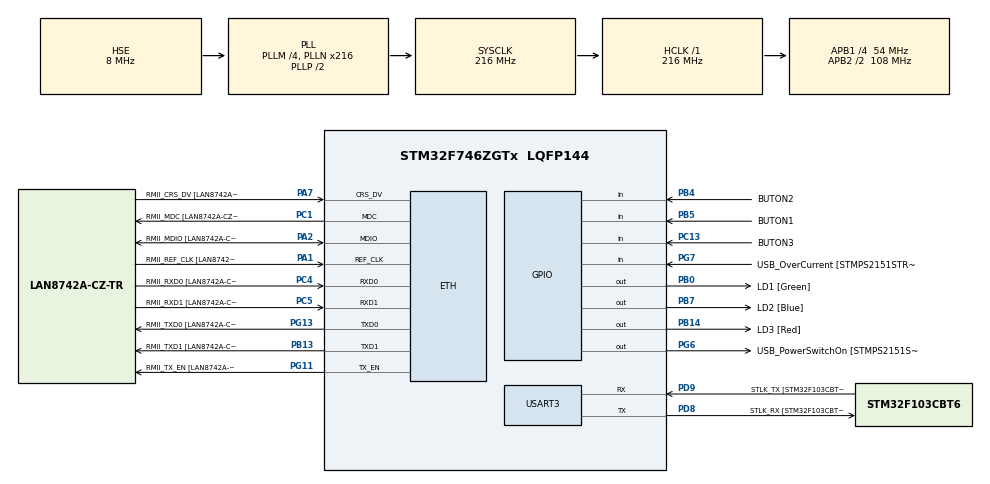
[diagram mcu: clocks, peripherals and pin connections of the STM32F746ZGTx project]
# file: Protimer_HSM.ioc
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ETH.MediaInterface=ETH_MEDIA_INTERFACE_RMII
ETH.PHY_Name=LAN8742A_PHY_ADDRESS
ETH.PHY_Value=0
ETH.PhyAddress=0
Mcu.Family=STM32F7
Mcu.Name=STM32F746ZGTx
Mcu.Package=LQFP144
NVIC.PriorityGroup=NVIC_PRIORITYGROUP_4
PA1.GPIO_Label=RMII_REF_CLK [LAN8742A-CZ-TR_REFCLK0]
PA1.Mode=RMII
PA1.Signal=ETH_REF_CLK
PA13.GPIO_Label=TMS
PA13.Mode=Trace_Asynchronous_SW
PA13.Signal=SYS_JTMS-SWDIO
PA14.GPIO_Label=TCK
PA14.Mode=Trace_Asynchronous_SW
PA14.Signal=SYS_JTCK-SWCLK
PA2.GPIO_Label=RMII_MDIO [LAN8742A-CZ-TR_MDIO]
PA2.Mode=RMII
PA2.Signal=ETH_MDIO
PA7.GPIO_Label=RMII_CRS_DV [LAN8742A-CZ-TR_CRS_DV]
PA7.Mode=RMII
PA7.Signal=ETH_CRS_DV
PB0.GPIO_Label=LD1 [Green]
PB0.Signal=GPIO_Output
PB13.GPIO_Label=RMII_TXD1 [LAN8742A-CZ-TR_TXD1]
PB13.Mode=RMII
PB13.Signal=ETH_TXD1
PB14.GPIO_Label=LD3 [Red]
PB14.Signal=GPIO_Output
PB3.GPIO_Label=SW0
PB3.Mode=Trace_Asynchronous_SW
PB3.Signal=SYS_JTDO-SWO
PB4.GPIO_Label=BUTON2
PB4.GPIO_PuPd=GPIO_PULLDOWN
PB4.Signal=GPIO_Input
PB5.GPIO_Label=BUTON1
PB5.GPIO_PuPd=GPIO_PULLDOWN
PB5.Signal=GPIO_Input
PB7.GPIO_Label=LD2 [Blue]
PB7.Signal=GPIO_Output
PC1.GPIO_Label=RMII_MDC [LAN8742A-CZ-TR_MDC]
PC1.Mode=RMII
PC1.Signal=ETH_MDC
PC13.GPIO_Label=BUTON3
PC13.GPIO_PuPd=GPIO_PULLDOWN
PC13.Signal=GPIO_Input
PC14/OSC32_IN.Mode=LSE-External-Oscillator
PC14/OSC32_IN.Signal=RCC_OSC32_IN
PC15/OSC32_OUT.Mode=LSE-External-Oscillator
PC15/OSC32_OUT.Signal=RCC_OSC32_OUT
PC4.GPIO_Label=RMII_RXD0 [LAN8742A-CZ-TR_RXD0]
PC4.Mode=RMII
PC4.Signal=ETH_RXD0
PC5.GPIO_Label=RMII_RXD1 [LAN8742A-CZ-TR_RXD1]
PC5.Mode=RMII
PC5.Signal=ETH_RXD1
PD8.GPIO_Label=STLK_RX [STM32F103CBT6_PA3]
PD8.Mode=Asynchronous
PD8.Signal=USART3_TX
PD9.GPIO_Label=STLK_TX [STM32F103CBT6_PA2]
PD9.Mode=Asynchronous
PD9.Signal=USART3_RX
PG11.GPIO_Label=RMII_TX_EN [LAN8742A-CZ-TR_TXEN]
PG11.Mode=RMII
PG11.Signal=ETH_TX_EN
PG13.GPIO_Label=RMII_TXD0 [LAN8742A-CZ-TR_TXD0]
PG13.Mode=RMII
PG13.Signal=ETH_TXD0
PG6.GPIO_Label=USB_PowerSwitchOn [STMPS2151STR_EN]
PG6.Signal=GPIO_Output
PG7.GPIO_Label=USB_OverCurrent [STMPS2151STR_FAULT]
PG7.Signal=GPIO_Input
PH0/OSC_IN.GPIO_Label=MCO [STM32F103CBT6_PA8]
PH0/OSC_IN.Mode=HSE-External-Clock-Source
PH0/OSC_IN.Signal=RCC_OSC_IN
PH1/OSC_OUT.Mode=HSE-External-Clock-Source
PH1/OSC_OUT.Signal=RCC_OSC_OUT
ProjectManager.HeapSize=0x200
ProjectManager.StackSize=0x400
ProjectManager.TargetToolchain=STM32CubeIDE
RCC.48MHZClocksFreq_Value=24000000
RCC.AHBFreq_Value=216000000
RCC.APB1CLKDivider=RCC_HCLK_DIV4
RCC.APB1Freq_Value=54000000
RCC.APB1TimFreq_Value=108000000
RCC.APB2CLKDivider=RCC_HCLK_DIV2
RCC.APB2Freq_Value=108000000
RCC.APB2TimFreq_Value=216000000
RCC.CortexFreq_Value=216000000
RCC.HCLKFreq_Value=216000000
RCC.HSE_VALUE=8000000
RCC.HSI_VALUE=16000000
RCC.PLLM=4
RCC.PLLMUL=RCC_PLL_MUL9
RCC.PLLN=216
RCC.PLLQ=9
RCC.PLLSourceVirtual=RCC_PLLSOURCE_HSE
RCC.PRESCALERUSB=RCC_USBCLKSOURCE_PLL_DIV1_5
RCC.SYSCLKFreq_VALUE=216000000
RCC.SYSCLKSource=RCC_SYSCLKSOURCE_PLLCLK
RCC.SYSCLKSourceVirtual=RCC_SYSCLKSOURCE_PLLCLK
RCC.USBFreq_Value=48000000
RCC.VCOOutputFreq_Value=432000000
USART3.VirtualMode-Asynchronous=VM_ASYNC
board=NUCLEO-F746ZG

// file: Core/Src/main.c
/* USER CODE BEGIN Header */
/**
  ******************************************************************************
  * @file           : main.c
  * @brief          : Main program body
  ******************************************************************************
  * @attention
  *
  * Copyright (c) 2022 STMicroelectronics.
  * All rights reserved.
  *
  * This software is licensed under terms that can be found in the LICENSE file
  * in the root directory of this software component.
  * If no LICENSE file comes with this software, it is provided AS-IS.
  *
  ******************************************************************************
  */
/* USER CODE END Header */
#include "main.h"

/* USER CODE BEGIN Includes */
#include "retarget.h"
#include "qpc.h"
#include "QHSM_Test.h"

Q_DEFINE_THIS_FILE;
/* USER CODE END Includes */

ETH_HandleTypeDef heth;

UART_HandleTypeDef huart3;

void SystemClock_Config(void);
static void MX_GPIO_Init(void);
static void MX_ETH_Init(void);
static void MX_USART3_UART_Init(void);

/* USER CODE BEGIN 0 */
QEvt ee;
/* USER CODE END 0 */

int main(void)
{

  /* MCU Configuration--------------------------------------------------------*/

  /* Reset of all peripherals, Initializes the Flash interface and the Systick. */
  HAL_Init();

  /* Configure the system clock */
  SystemClock_Config();

  /* Initialize all configured peripherals */
  MX_GPIO_Init();
//  MX_ETH_Init();
  MX_USART3_UART_Init();
  /* USER CODE BEGIN 2 */
  RetargetInit(&huart3);
  QHsmTst_ctor();
  QHSM_INIT(super_QHsmTst,(void *)0,0);

  /* USER CODE END 2 */

  /* Infinite loop */
  while (1)
  {

	  char chr;
    /* USER CODE BEGIN 3 */
	  scanf("%c",&chr);

	  if(chr != 0){
		  if(chr == 'a' || chr == 'A'){
			  ee.sig = (QSignal)A_SIG;
			  printf("\r\n");
		  }
		  else if(chr == 'b' || chr == 'B'){
			  ee.sig = (QSignal)B_SIG;
			  printf("\r\n");
		  }
		  else if(chr == 'c' || chr == 'C'){
			  ee.sig = (QSignal)C_SIG;
			  printf("\r\n");
		  }
		  else if(chr == 'd' || chr == 'D'){
			  ee.sig = (QSignal)D_SIG;
			  printf("\r\n");
		  }
		  else if(chr == 'e' || chr == 'E'){
			  ee.sig = (QSignal)E_SIG;
			  printf("\r\n");
		  }
		  else if(chr == 'f' || chr == 'F'){
			  ee.sig = (QSignal)F_SIG;
			  printf("\r\n");
		  }
		  else if(chr == 'g' || chr == 'G'){
			  ee.sig = (QSignal)G_SIG;
			  printf("\r\n");
		  }
		  else if(chr == 'h' || chr == 'H'){
			  ee.sig = (QSignal)H_SIG;
			  printf("\r\n");
		  }
		  else if(chr == 'i' || chr == 'I'){
			  ee.sig = (QSignal)I_SIG;
			  printf("\r\n");
		  }
		  else if(chr == 'x' || chr == 'X'){
			  ee.sig = (QSignal)TERMINATE_SIG;
			  printf("\r\n");
		  }

		  QHSM_DISPATCH(super_QHsmTst, &ee, 0U);
	  }

  }
  /* USER CODE END 3 */
}

void SystemClock_Config(void)
{
  RCC_OscInitTypeDef RCC_OscInitStruct = {0};
  RCC_ClkInitTypeDef RCC_ClkInitStruct = {0};

  /** Configure LSE Drive Capability
  */
  HAL_PWR_EnableBkUpAccess();

  /** Configure the main internal regulator output voltage
  */
  __HAL_RCC_PWR_CLK_ENABLE();
  __HAL_PWR_VOLTAGESCALING_CONFIG(PWR_REGULATOR_VOLTAGE_SCALE1);

  /** Initializes the RCC Oscillators according to the specified parameters
  * in the RCC_OscInitTypeDef structure.
  */
  RCC_OscInitStruct.OscillatorType = RCC_OSCILLATORTYPE_HSE;
  RCC_OscInitStruct.HSEState = RCC_HSE_BYPASS;
  RCC_OscInitStruct.PLL.PLLState = RCC_PLL_ON;
  RCC_OscInitStruct.PLL.PLLSource = RCC_PLLSOURCE_HSE;
  RCC_OscInitStruct.PLL.PLLM = 4;
  RCC_OscInitStruct.PLL.PLLN = 216;
  RCC_OscInitStruct.PLL.PLLP = RCC_PLLP_DIV2;
  RCC_OscInitStruct.PLL.PLLQ = 9;
  if (HAL_RCC_OscConfig(&RCC_OscInitStruct) != HAL_OK)
  {
    Error_Handler();
  }

  /** Activate the Over-Drive mode
  */
  if (HAL_PWREx_EnableOverDrive() != HAL_OK)
  {
    Error_Handler();
  }

  /** Initializes the CPU, AHB and APB buses clocks
  */
  RCC_ClkInitStruct.ClockType = RCC_CLOCKTYPE_HCLK|RCC_CLOCKTYPE_SYSCLK
                              |RCC_CLOCKTYPE_PCLK1|RCC_CLOCKTYPE_PCLK2;
  RCC_ClkInitStruct.SYSCLKSource = RCC_SYSCLKSOURCE_PLLCLK;
  RCC_ClkInitStruct.AHBCLKDivider = RCC_SYSCLK_DIV1;
  RCC_ClkInitStruct.APB1CLKDivider = RCC_HCLK_DIV4;
  RCC_ClkInitStruct.APB2CLKDivider = RCC_HCLK_DIV2;

  if (HAL_RCC_ClockConfig(&RCC_ClkInitStruct, FLASH_LATENCY_7) != HAL_OK)
  {
    Error_Handler();
  }
}

static void MX_ETH_Init(void)
{

   static uint8_t MACAddr[6];

  heth.Instance = ETH;
  heth.Init.AutoNegotiation = ETH_AUTONEGOTIATION_ENABLE;
  heth.Init.Speed = ETH_SPEED_100M;
  heth.Init.DuplexMode = ETH_MODE_FULLDUPLEX;
  heth.Init.PhyAddress = LAN8742A_PHY_ADDRESS;
  MACAddr[0] = 0x00;
  MACAddr[1] = 0x80;
  MACAddr[2] = 0xE1;
  MACAddr[3] = 0x00;
  MACAddr[4] = 0x00;
  MACAddr[5] = 0x00;
  heth.Init.MACAddr = &MACAddr[0];
  heth.Init.RxMode = ETH_RXPOLLING_MODE;
  heth.Init.ChecksumMode = ETH_CHECKSUM_BY_HARDWARE;
  heth.Init.MediaInterface = ETH_MEDIA_INTERFACE_RMII;

  if (HAL_ETH_Init(&heth) != HAL_OK)
  {
    Error_Handler();
  }

}

static void MX_USART3_UART_Init(void)
{

  huart3.Instance = USART3;
  huart3.Init.BaudRate = 115200;
  huart3.Init.WordLength = UART_WORDLENGTH_8B;
  huart3.Init.StopBits = UART_STOPBITS_1;
  huart3.Init.Parity = UART_PARITY_NONE;
  huart3.Init.Mode = UART_MODE_TX_RX;
  huart3.Init.HwFlowCtl = UART_HWCONTROL_NONE;
  huart3.Init.OverSampling = UART_OVERSAMPLING_16;
  huart3.Init.OneBitSampling = UART_ONE_BIT_SAMPLE_DISABLE;
  huart3.AdvancedInit.AdvFeatureInit = UART_ADVFEATURE_NO_INIT;
  if (HAL_UART_Init(&huart3) != HAL_OK)
  {
    Error_Handler();
  }

}

static void MX_GPIO_Init(void)
{
  GPIO_InitTypeDef GPIO_InitStruct = {0};

  /* GPIO Ports Clock Enable */
  __HAL_RCC_GPIOC_CLK_ENABLE();
  __HAL_RCC_GPIOH_CLK_ENABLE();
  __HAL_RCC_GPIOA_CLK_ENABLE();
  __HAL_RCC_GPIOB_CLK_ENABLE();
  __HAL_RCC_GPIOD_CLK_ENABLE();
  __HAL_RCC_GPIOG_CLK_ENABLE();

  /*Configure GPIO pin Output Level */
  HAL_GPIO_WritePin(GPIOB, LD1_Pin|LD3_Pin|LD2_Pin, GPIO_PIN_RESET);

  /*Configure GPIO pin Output Level */
  HAL_GPIO_WritePin(USB_PowerSwitchOn_GPIO_Port, USB_PowerSwitchOn_Pin, GPIO_PIN_RESET);

  /*Configure GPIO pin : BUTON3_Pin */
  GPIO_InitStruct.Pin = BUTON3_Pin;
  GPIO_InitStruct.Mode = GPIO_MODE_INPUT;
  GPIO_InitStruct.Pull = GPIO_PULLDOWN;
  HAL_GPIO_Init(BUTON3_GPIO_Port, &GPIO_InitStruct);

  /*Configure GPIO pins : LD1_Pin LD3_Pin LD2_Pin */
  GPIO_InitStruct.Pin = LD1_Pin|LD3_Pin|LD2_Pin;
  GPIO_InitStruct.Mode = GPIO_MODE_OUTPUT_PP;
  GPIO_InitStruct.Pull = GPIO_NOPULL;
  GPIO_InitStruct.Speed = GPIO_SPEED_FREQ_LOW;
  HAL_GPIO_Init(GPIOB, &GPIO_InitStruct);

  /*Configure GPIO pin : USB_PowerSwitchOn_Pin */
  GPIO_InitStruct.Pin = USB_PowerSwitchOn_Pin;
  GPIO_InitStruct.Mode = GPIO_MODE_OUTPUT_PP;
  GPIO_InitStruct.Pull = GPIO_NOPULL;
  GPIO_InitStruct.Speed = GPIO_SPEED_FREQ_LOW;
  HAL_GPIO_Init(USB_PowerSwitchOn_GPIO_Port, &GPIO_InitStruct);

  /*Configure GPIO pin : USB_OverCurrent_Pin */
  GPIO_InitStruct.Pin = USB_OverCurrent_Pin;
  GPIO_InitStruct.Mode = GPIO_MODE_INPUT;
  GPIO_InitStruct.Pull = GPIO_NOPULL;
  HAL_GPIO_Init(USB_OverCurrent_GPIO_Port, &GPIO_InitStruct);

  /*Configure GPIO pins : BUTON2_Pin BUTON1_Pin */
  GPIO_InitStruct.Pin = BUTON2_Pin|BUTON1_Pin;
  GPIO_InitStruct.Mode = GPIO_MODE_INPUT;
  GPIO_InitStruct.Pull = GPIO_PULLDOWN;
  HAL_GPIO_Init(GPIOB, &GPIO_InitStruct);

}

/* USER CODE BEGIN 4 */

Q_NORETURN Q_onAssert	(	char_t const *const 	module, int_t const 	location){
	printf("Assertion FAilure!\n");
	printf("%s : %d \n",module,location);
	while(1);

}

/* USER CODE END 4 */

void Error_Handler(void)
{
  __disable_irq();
  while (1)
  {
  }
}
